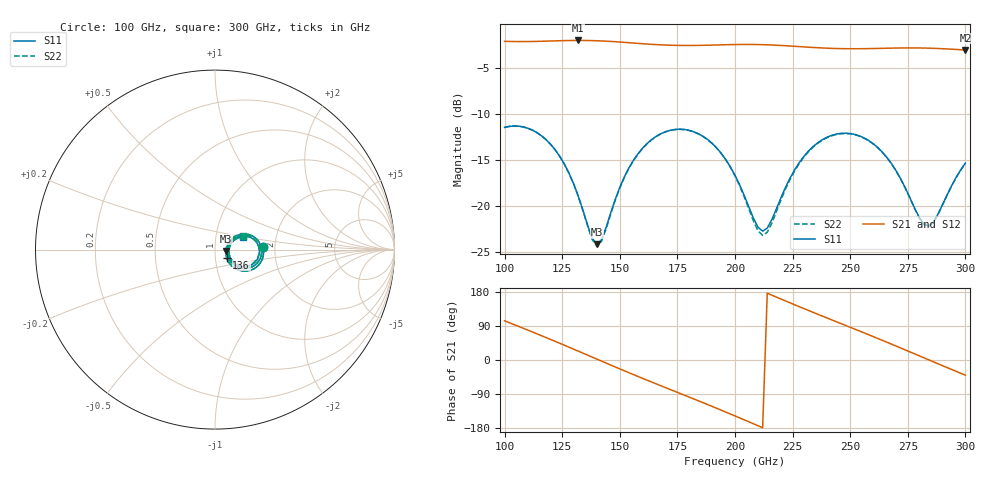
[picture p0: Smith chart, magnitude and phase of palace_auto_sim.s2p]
#  GHZ S DB R 50
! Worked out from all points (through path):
!   101 points, 100 GHz to 300 GHz, reference 50 ohm
!   highest |S21| = -2.07 dB at 132 GHz (marker M1); lowest = -3.1 dB at 300 GHz (marker M2)
!   group delay of S21, straight-line fit = 6.99 ps
!   lowest |S11| = -24.1 dB at 140 GHz (marker M3), VSWR 1.13, Z = 56.6 - j0.845 ohm
!   |S11| at or under -10 dB: start of sweep to end of sweep
!   |S22| runs from -24.3 to -11.3 dB; largest |S21 - S12| = 8.5e-14
!   S11 on the Smith chart (normalised r, x): 100 GHz: 1.73, +0.05; 136 GHz: 1.14, -0.10; 300 GHz: 1.35, +0.20
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100  -11.48 3.0  -2.16 103.4  -2.16 103.4  -11.48 3.0
108  -11.42 -12.1  -2.19 83.9  -2.19 83.9  -11.43 -12.1
116  -12.38 -26.7  -2.16 64.2  -2.16 64.2  -12.39 -26.8
124  -14.64 -39.3  -2.10 43.9  -2.10 43.9  -14.65 -39.5
132  -18.94 -43.4  -2.07 23.3  -2.07 23.3  -18.97 -43.9
134  -20.44 -40.5  -2.07 18.1  -2.07 18.1  -20.50 -41.1
136  -22.04 -34.1  -2.08 12.9  -2.08 12.9  -22.14 -34.8
140  -24.13 -6.9  -2.10 2.4  -2.10 2.4  -24.34 -7.1
154  -15.85 31.3  -2.31 -33.6  -2.31 -33.6  -15.89 31.8
168  -12.14 10.5  -2.55 -68.4  -2.55 -68.4  -12.16 10.8
184  -12.15 -17.8  -2.60 -107.4  -2.60 -107.4  -12.17 -17.8
200  -16.66 -38.3  -2.51 -147.6  -2.51 -147.6  -16.74 -39.0
212  -22.71 -5.5  -2.53 -178.6  -2.53 -178.6  -23.18 -5.4
222  -17.93 28.5  -2.64 155.7  -2.64 155.7  -18.11 30.4
234  -13.53 18.5  -2.83 125.5  -2.83 125.5  -13.60 20.1
244  -12.20 2.6  -2.94 101.0  -2.94 101.0  -12.25 3.9
252  -12.24 -10.9  -2.97 81.5  -2.97 81.5  -12.28 -9.7
268  -15.43 -33.4  -2.90 41.7  -2.90 41.7  -15.46 -32.2
276  -19.14 -32.8  -2.88 21.2  -2.88 21.2  -19.17 -31.6
284  -22.15 -2.2  -2.90 0.6  -2.90 0.6  -22.19 -0.9
292  -18.82 25.1  -2.99 -19.9  -2.99 -19.9  -18.85 26.6
300  -15.35 24.4  -3.10 -40.1  -3.10 -40.1  -15.37 25.9
